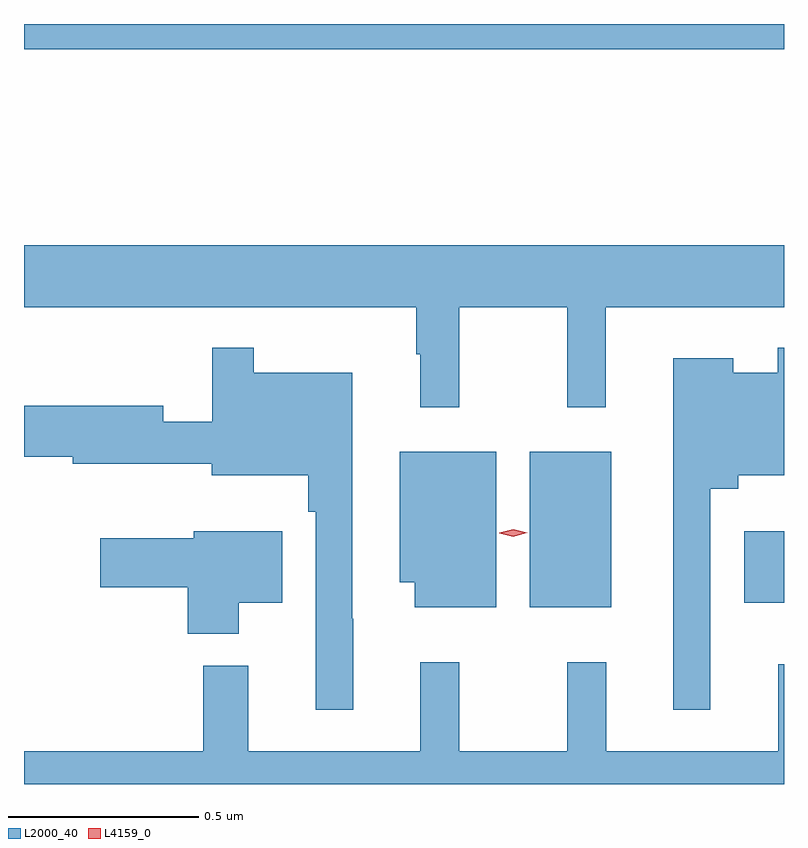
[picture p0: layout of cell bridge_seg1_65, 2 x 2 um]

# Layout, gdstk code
import gdstk
lib = gdstk.Library(unit=1e-6, precision=1e-09)
def R(c, l, rs):  # rectangles x0, y0, x1, y1
    for r in rs: c.add(gdstk.rectangle(r[:2], r[2:], *l))
def P(c, l, *ps):  # polygons
    for p in ps: c.add(gdstk.Polygon(p, *l))
L2000_40 = (2000, 40)
L4159_0 = (4159, 0)

bridge_seg1_65 = lib.new_cell('bridge_seg1_65')
R(bridge_seg1_65, L2000_40, [(602.918,537.623,603.133,538.033), (603.482,537.635,603.587,537.823), (601.587,539.092,603.587,539.158)])
P(bridge_seg1_65, L2000_40, [(602.732,538.412),(603.016,538.412),(603.016,538.149),(603.118,538.149),(603.118,538.412),(603.587,538.412),(603.587,538.576),(601.587,538.576),(601.587,538.412),(602.619,538.412),(602.619,538.289),(602.63,538.289),(602.63,538.149),(602.732,538.149)],
  [(602.453,537.593),(602.451,537.593),(602.451,538.24),(602.191,538.24),(602.191,538.306),(602.082,538.306),(602.082,538.111),(601.954,538.111),(601.954,538.153),(601.587,538.153),(601.587,538.019),(601.715,538.019),(601.715,538.001),(602.081,538.001),(602.081,537.971),(602.335,537.971),(602.335,537.875),(602.355,537.875),(602.355,537.354),(602.453,537.354)],
  [(603.393,537.935),(603.467,537.935),(603.467,537.971),(603.587,537.971),(603.587,538.306),(603.57,538.306),(603.57,538.24),(603.454,538.24),(603.454,538.279),(603.296,538.279),(603.296,537.354),(603.393,537.354)],
  [(602.83,538.033),(602.576,538.033),(602.576,537.689),(602.615,537.689),(602.615,537.623),(602.83,537.623)],
  [(602.152,537.635),(602.266,537.635),(602.266,537.823),(602.034,537.823),(602.034,537.805),(601.788,537.805),(601.788,537.676),(602.018,537.676),(602.018,537.554),(602.152,537.554)],
  [(603.587,537.473),(603.572,537.473),(603.572,537.244),(603.119,537.244),(603.119,537.478),(603.016,537.478),(603.016,537.244),(602.732,537.244),(602.732,537.478),(602.63,537.478),(602.63,537.244),(602.177,537.244),(602.177,537.469),(602.059,537.469),(602.059,537.244),(601.587,537.244),(601.587,537.158),(603.587,537.158)])
P(bridge_seg1_65, L4159_0, [(602.875,537.809),(602.838,537.818),(602.838,537.819),(602.838,537.819),(602.875,537.829),(602.911,537.819),(602.911,537.819),(602.911,537.819)])

lib.write_gds('bridge_seg1_65.gds')
